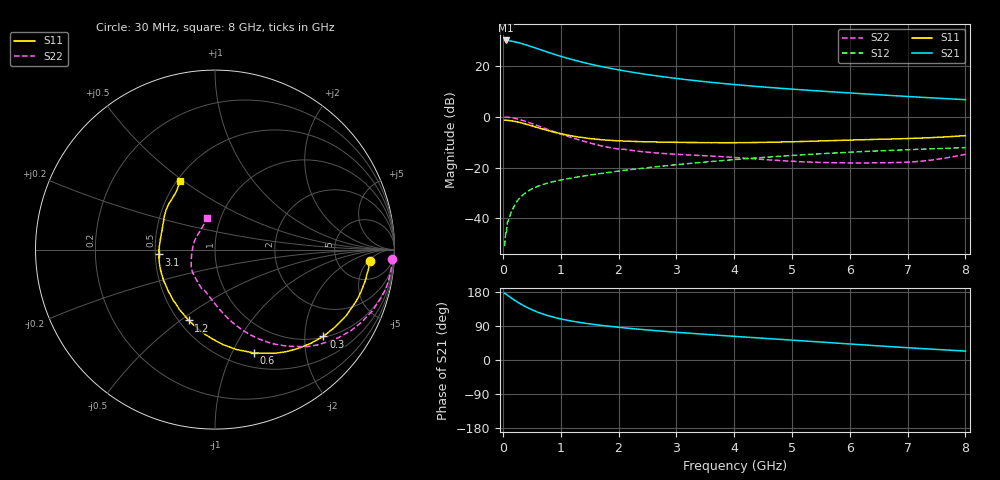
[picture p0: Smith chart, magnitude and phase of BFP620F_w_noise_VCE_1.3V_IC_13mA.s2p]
! Infineon Technologies  Discrete & RF Semiconductors
! BFP620F
! VCE =  1.3 V,  IC =  13 mA
! Common Emitter S-Parameters:  Dec 2014
# GHz  S  MA  R  50
!  f  S11  S21  S12  S22
! GHz  MAG  ANG  MAG  ANG  MAG  ANG  MAG  ANG
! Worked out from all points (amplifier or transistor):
!   95 points, 30 MHz to 8 GHz, reference 50 ohm
!   highest |S21| = 30.2 dB at 50 MHz (marker M1)
!   |S21| within 3 dB of that: start of sweep to 565.5 MHz
!   unconditionally stable (mu >= 1): 3.623 GHz to end of sweep
!   at 300 MHz: K = 0.20, MSG = 30.5 dB, |S12| = -31.8 dB
!   at 3.3 GHz: K = 0.98, MSG = 16.3 dB, |S12| = -18.2 dB
!   at 8 GHz: K = 1.08, MAG = 7.8 dB, |S12| = -12.1 dB
!   lowest NFmin = 0.66 dB at 450 MHz
!   S11 on the Smith chart (normalised r, x): 30 MHz: 11, -5; 300 MHz: 1.03, -2.47; 600 MHz: 0.66, -1.22; 1.2 GHz: 0.56, -0.54; 3.1 GHz: 0.52, -0.03; 8 GHz: 0.52, +0.48
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0.03  0.8631 -4.1  32.37 176.3  0.0028 91.7  0.9897 -3.0
0.05  0.8626 -6.9  32.4 174.1  0.0054 84.9  0.9906 -5.3
0.08  0.8563 -11.0  32.24 170.7  0.0084 80.2  0.9837 -8.7
0.15  0.837 -20.2  31.37 163.2  0.0138 78.3  0.9638 -16.2
0.25  0.7963 -32.7  29.63 153.1  0.022 74.9  0.9119 -26.3
0.3  0.7734 -38.7  28.64 148.5  0.0257 71.8  0.8804 -31.0
0.4  0.7194 -50.0  26.52 140.1  0.0321 66.9  0.8094 -39.5
0.45  0.6939 -55.0  25.39 136.3  0.0352 65.2  0.7764 -43.3
0.6  0.6155 -69.3  22.24 126.3  0.0425 60.7  0.6712 -53.3
0.7  0.5709 -77.6  20.34 120.9  0.0465 58.5  0.6104 -59.0
0.8  0.5314 -85.2  18.61 116.2  0.0502 56.8  0.5541 -63.9
0.9  0.496 -92.1  17.1 112.1  0.0537 55.6  0.5047 -68.4
1  0.4676 -98.6  15.77 108.5  0.0568 54.9  0.4613 -72.3
1.2  0.421 -110.3  13.57 102.4  0.0625 53.8  0.3886 -79.5
1.4  0.3887 -120.5  11.86 97.5  0.0681 53.1  0.3306 -86.1
1.9  0.342 -142.0  8.939 88.0  0.0821 52.3  0.2416 -102.1
2.7  0.3191 -166.1  6.379 76.8  0.1051 50.3  0.1925 -124.2
3.1  0.3145 -175.1  5.578 72.1  0.1167 49.0  0.1804 -132.2
4.1  0.3103 166.3  4.267 61.4  0.1465 44.9  0.1556 -148.4
5.4  0.3331 148.7  3.295 48.3  0.1845 37.6  0.1274 -177.2
6.7  0.366 132.8  2.656 35.3  0.2179 29.0  0.1249 146.6
8  0.4275 117.4  2.193 23.4  0.2479 20.5  0.1823 104.8
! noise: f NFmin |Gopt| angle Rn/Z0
0.45  0.66  0.19  8  0.2
0.9  0.73  0.17  18  0.18
1.5  0.78  0.17  20  0.13
1.8  0.81  0.15  23  0.11
1.9  0.82  0.11  37  0.13
2.4  0.86  0.1  53  0.12
3.5  0.95  0.09  78  0.12
5.5  1.11  0.11  197  0.09
6  1.15  0.1  226  0.13
